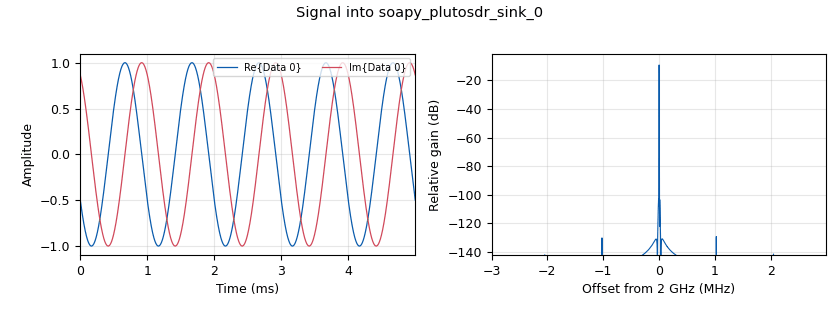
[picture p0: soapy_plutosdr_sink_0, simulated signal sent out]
options:
  parameters:
    author: shaunaliu
    generate_options: qt_gui
    id: bladerf_test
    output_language: python
    title: BladeRF Debug
  states: {}

blocks:
- name: freq
  id: variable
  parameters:
    value: 2e9
  states: {}
- name: qpsk_cons
  id: variable_constellation_rect
  parameters:
    const_points: '[-1-1j, -1+1j, 1+1j, 1-1j]'
    imag_sect: '2'
    real_sect: '2'
    rot_sym: '4'
    sym_map: '[0, 1, 3, 2]'
    w_imag_sect: '1'
    w_real_sect: '1'
  states: {}
- name: samp_rate
  id: variable
  parameters:
    value: 6e6
  states: {}
- name: analog_agc3_xx_0
  id: analog_agc3_xx
  parameters:
    attack_rate: '1e-3'
    decay_rate: '1e-4'
    gain: '1.0'
    iir_update_decim: '1'
    max_gain: '65536'
    reference: '1.0'
    type: complex
  states: {}
- name: analog_random_source_x_0
  id: analog_random_source_x
  parameters:
    max: '256'
    min: '0'
    num_samps: '1000'
    repeat: 'True'
    type: byte
  states: {state: disabled}
- name: analog_sig_source_x_0
  id: analog_sig_source_x
  parameters:
    amp: '1'
    freq: '1000'
    offset: '0'
    phase: '0'
    samp_rate: samp_rate
    type: complex
    waveform: analog.GR_COS_WAVE
  states: {}
- name: digital_constellation_modulator_0
  id: digital_constellation_modulator
  parameters:
    constellation: qpsk_cons
    differential: 'False'
    excess_bw: '0.35'
    samples_per_symbol: '4'
  states: {state: disabled}
- name: qtgui_const_sink_x_0
  id: qtgui_const_sink_x
  parameters:
    nconnections: '2'
    size: '1024'
    type: complex
  states: {}
- name: qtgui_waterfall_sink_x_0
  id: qtgui_waterfall_sink_x
  parameters:
    bw: samp_rate
    fc: '0'
    fftsize: '1024'
    type: complex
  states: {}
- name: soapy_bladerf_source_0
  id: soapy_bladerf_source
  parameters:
    center_freq: freq
    samp_rate: samp_rate
    type: fc32
  states: {}
- name: soapy_plutosdr_sink_0
  id: soapy_plutosdr_sink
  parameters:
    center_freq: freq
    samp_rate: samp_rate
    type: fc32
  states: {}

connections:
- [analog_agc3_xx_0, '0', qtgui_const_sink_x_0, '1']
- [analog_random_source_x_0, '0', digital_constellation_modulator_0, '0']
- [analog_sig_source_x_0, '0', soapy_plutosdr_sink_0, '0']
- [digital_constellation_modulator_0, '0', soapy_plutosdr_sink_0, '0']
- [soapy_bladerf_source_0, '0', analog_agc3_xx_0, '0']
- [soapy_bladerf_source_0, '0', qtgui_const_sink_x_0, '0']
- [soapy_bladerf_source_0, '0', qtgui_waterfall_sink_x_0, '0']

metadata:
  file_format: 1
  grc_version: 3.10.12.0
